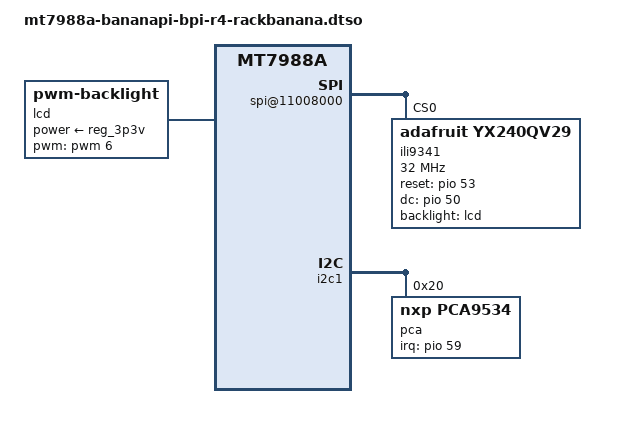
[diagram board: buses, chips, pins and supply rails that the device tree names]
// SPDX-License-Identifier: (GPL-2.0 OR MIT)
/*
 * Copyright (C) 2024
 * Author: Rene Koppe <rene@xargon.de>
 */

/dts-v1/;
/plugin/;

#include <dt-bindings/gpio/gpio.h>
#include <dt-bindings/input/input.h>
#include <dt-bindings/pwm/pwm.h>
#include <dt-bindings/leds/common.h>
#include <dt-bindings/interrupt-controller/irq.h>

/ {
	compatible = "bananapi,bpi-r4", "mediatek,mt7988a";

	aliases {
		uart2 = "/soc/serial@11000200";
		pio = "/soc/pinctrl@1001f000";
		pwm = "/soc/pwm@10048000";
		i2c1 = "/soc/i2c@11004000";
	};

	fragment@0 {
		target = <&uart2>;
		__overlay__ {
				status = "disabled";
		};
	};
	
	fragment@1 {
		target = <&pio>;
		__overlay__ {
			pwm6_pins: pwm6-pins {
				mux {
					groups = "pwm6_0";
					function = "pwm";
				};
			};
		};
	};
	
	fragment@2 {
		target-path = "/";
		__overlay__ {
			lcd: backlight {
				status = "okay";
				compatible = "pwm-backlight";

				pwms = <&pwm 6 50000 PWM_POLARITY_INVERTED>;

				brightness-levels = <0 255>;
				default-brightness-level = <128>;
				num-interpolated-steps = <255>;

				power-supply = <&reg_3p3v>;
				pinctrl-names = "default";
				pinctrl-0 = <&pwm6_pins>;
			};
		};
	};
	
	fragment@3 {
		target-path = "/soc/spi@11008000";
		__overlay__ {
			status = "okay";
			
			ili9341: ili9341@0 {
				compatible = "adafruit,yx240qv29", "ilitek,ili9341";
				reg = <0>; 
				spi-max-frequency = <32000000>;
				rotation = <270>;
				reset-gpios = <&pio 53 GPIO_ACTIVE_HIGH>;
				dc-gpios = <&pio 50 GPIO_ACTIVE_HIGH>;
				backlight = <&lcd>;
				status = "okay";
			};
		};
	};
	
	fragment@4 {
		target = <&i2c1>;
		__overlay__ {
			status = "okay";
			
			pca: gpio@20 {
				compatible = "nxp,pca9534";
				status = "okay";
				reg = <0x20>;
				gpio-controller;
				#gpio-cells = <2>;
				interrupt-parent = <&pio>;
				interrupts = <59 IRQ_TYPE_EDGE_FALLING>;
				interrupt-controller;
				#interrupt-cells = <2>;
			};
		};
	};
	
	fragment@5 {
		target-path = "/gpio-leds";
		__overlay__ {
			left-white {
				function = LED_FUNCTION_KBD_BACKLIGHT;
				color = <LED_COLOR_ID_WHITE>;
				gpios = <&pca 3 GPIO_ACTIVE_LOW>;
				default-state = "on";
				label = "left_button_white";
			};
			
			right-white {
				function = LED_FUNCTION_KBD_BACKLIGHT;
				color = <LED_COLOR_ID_WHITE>;
				gpios = <&pca 4 GPIO_ACTIVE_LOW>;
				default-state = "on";
				label = "right_button_white";
			};
			
			enter-white {
				function = LED_FUNCTION_KBD_BACKLIGHT;
				color = <LED_COLOR_ID_WHITE>;
				gpios = <&pca 5 GPIO_ACTIVE_LOW>;
				default-state = "on";
				panic-indicator = "true";
				label = "enter_button_white";
			};
			
			enter-red {
				function = LED_FUNCTION_HEARTBEAT;
				color = <LED_COLOR_ID_WHITE>;
				gpios = <&pca 6 GPIO_ACTIVE_LOW>;
				default-state = "off";
				panic-indicator = "true";
				linux,default-trigger = "heartbeat";
				label = "enter_button_red";
			};
		};
	};
	
	fragment@6 {
		target-path = "/gpio-keys";
		__overlay__ {
			left {
				label = "left";
				linux,code = <BTN_0>;
				gpios = <&pca 0 GPIO_ACTIVE_LOW>;
			};

			right {
				label = "right";
				linux,code = <BTN_1>;
				gpios = <&pca 1 GPIO_ACTIVE_LOW>;
			};

			enter {
				label = "enter";
				linux,code = <BTN_2>;
				gpios = <&pca 2 GPIO_ACTIVE_LOW>;
			};
		};
	};
};
